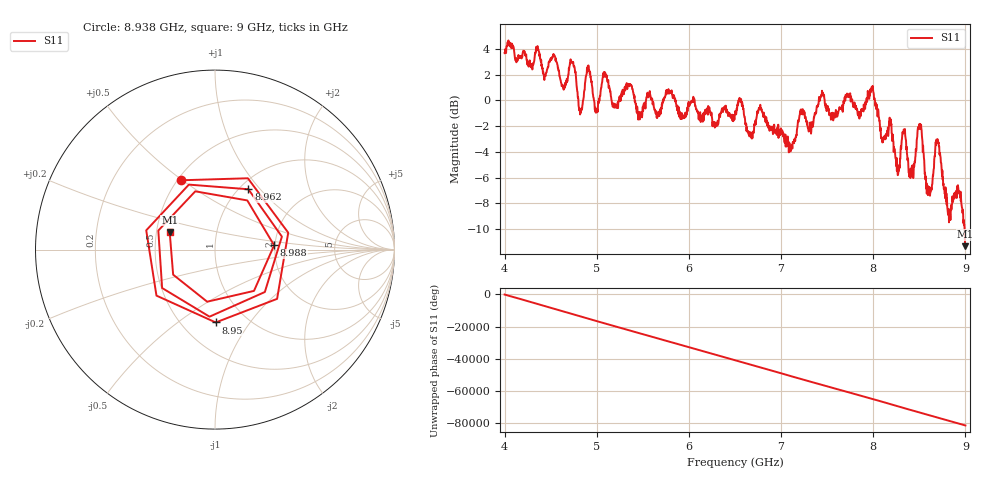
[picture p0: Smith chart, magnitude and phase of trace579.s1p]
! Created with skrf 1.8.0 (http://scikit-rf.org).
# Hz S RI R 50.0
!freq ReS11 ImS11
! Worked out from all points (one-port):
!   1601 points, 4 GHz to 9 GHz, reference 50 ohm
!   lowest |S11| = -11.3 dB at 9 GHz (marker M1), VSWR 1.74, Z = 29.4 + j6.21 ohm
!   |S11| at or under -10 dB: 8.991024 GHz to end of sweep
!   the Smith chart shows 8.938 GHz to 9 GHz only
!   S11 on the Smith chart (normalised r, x): 8.938 GHz: 0.52, +0.49; 8.95 GHz: 0.72, -0.70; 8.962 GHz: 1.10, +0.87; 8.988 GHz: 1.98, +0.11; 9 GHz: 0.59, +0.12
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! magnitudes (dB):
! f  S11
! 4 GHz  3.7
! 4.534 GHz  3.5
! 4.625 GHz  1.2
! 4.731 GHz  3.0
! 4.822 GHz  -0.8
! 4.906 GHz  2.5
! 4.994 GHz  -0.9
! 5.084 GHz  2.2
! 5.25 GHz  -0.1
! 5.875 GHz  -0.4
! 6.5 GHz  -1.0
! 7.125 GHz  -3.3
! 7.222 GHz  -1.1
! 7.75 GHz  0.6
! 7.991 GHz  0.9
! 8.262 GHz  -5.3
! 8.331 GHz  -2.3
! 8.375 GHz  -4.5
! 8.425 GHz  -5.1
! 8.506 GHz  -1.8
! 8.6 GHz  -6.7
! 8.697 GHz  -3.0
! 8.816 GHz  -8.7
! 8.938 GHz  -7.3
! 8.95 GHz  -7.8
! 8.962 GHz  -8.3
! 8.988 GHz  -9.6
! 9 GHz  -11.3
